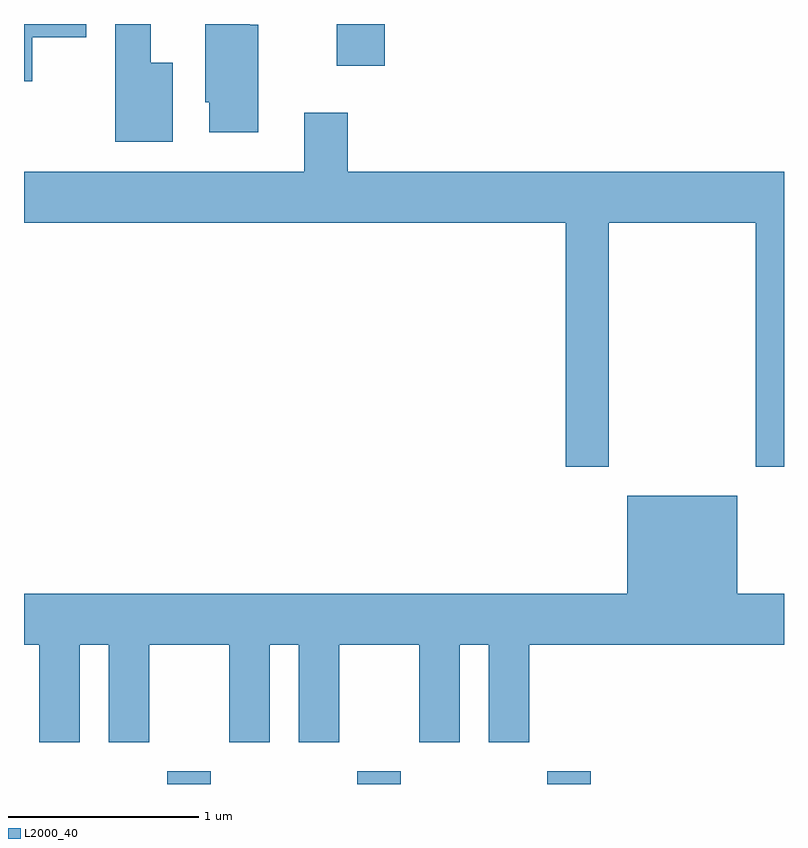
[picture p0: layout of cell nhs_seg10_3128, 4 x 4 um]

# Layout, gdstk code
import gdstk
lib = gdstk.Library(unit=1e-6, precision=1e-09)
def R(c, l, rs):  # rectangles x0, y0, x1, y1
    for r in rs: c.add(gdstk.rectangle(r[:2], r[2:], *l))
def A(c, l, x, y, w, h, nx, ny, dx, dy):  # array of equal rectangles
    R(c, l, [(x+i*dx, y+j*dy, x+i*dx+w, y+j*dy+h) for i in range(nx) for j in range(ny)])
def P(c, l, *ps):  # polygons
    for p in ps: c.add(gdstk.Polygon(p, *l))
L2000_40 = (2000, 40)

nhs_seg10_3128 = lib.new_cell('nhs_seg10_3128')
A(nhs_seg10_3128, L2000_40, 278.366, 2106.522, 0.228, 0.067, 3, 1, 1, 0)
R(nhs_seg10_3128, L2000_40, [(279.256,2110.301,279.509,2110.522)])
P(nhs_seg10_3128, L2000_40, [(278.394,2110.319),(278.279,2110.319),(278.279,2110.522),(278.091,2110.522),(278.091,2109.901),(278.394,2109.901)],
  [(277.654,2110.451),(277.939,2110.451),(277.939,2110.522),(277.611,2110.522),(277.611,2110.221),(277.654,2110.221)],
  [(278.844,2110.519),(278.799,2110.519),(278.799,2110.522),(278.566,2110.522),(278.566,2110.111),(278.586,2110.111),(278.586,2109.951),(278.844,2109.951)],
  [(280.689,2109.476),(281.461,2109.476),(281.461,2108.191),(281.611,2108.191),(281.611,2109.744),(279.314,2109.744),(279.314,2110.054),(279.086,2110.054),(279.086,2109.744),(277.611,2109.744),(277.611,2109.476),(280.461,2109.476),(280.461,2108.191),(280.689,2108.191)],
  [(277.904,2107.256),(278.056,2107.256),(278.056,2106.741),(278.269,2106.741),(278.269,2107.256),(278.691,2107.256),(278.691,2106.741),(278.904,2106.741),(278.904,2107.256),(279.056,2107.256),(279.056,2106.741),(279.269,2106.741),(279.269,2107.256),(279.691,2107.256),(279.691,2106.741),(279.904,2106.741),(279.904,2107.256),(280.056,2107.256),(280.056,2106.741),(280.269,2106.741),(280.269,2107.256),(281.611,2107.256),(281.611,2107.524),(281.364,2107.524),(281.364,2108.039),(280.786,2108.039),(280.786,2107.524),(277.611,2107.524),(277.611,2107.256),(277.691,2107.256),(277.691,2106.741),(277.904,2106.741)])

lib.write_gds('nhs_seg10_3128.gds')
